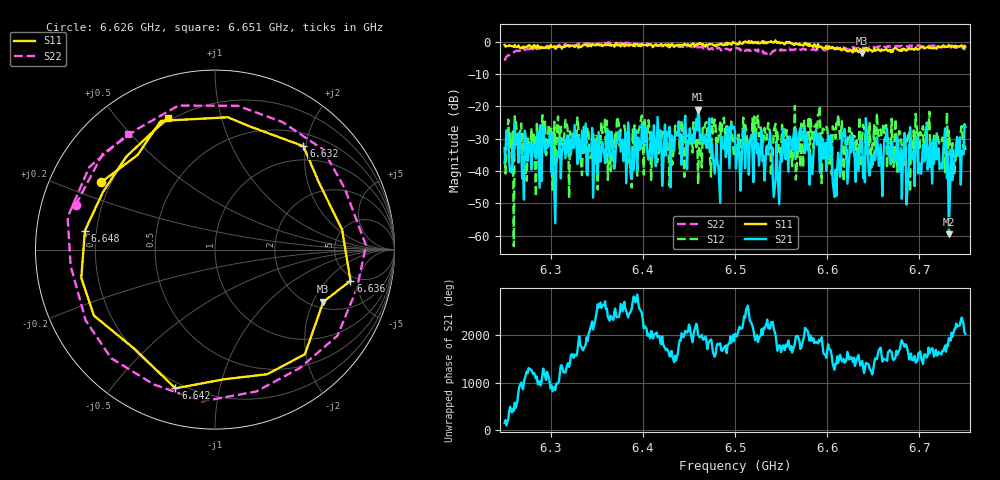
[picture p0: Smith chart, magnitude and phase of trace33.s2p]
# Hz S RI R 50
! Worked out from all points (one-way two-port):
!   401 points, 6.25 GHz to 6.75 GHz, reference 50 ohm
!   highest |S21| = -20.97 dB at 6.46 GHz (marker M1); lowest = -59.6 dB at 6.732 GHz (marker M2)
!   lowest |S11| = -3.5 dB at 6.638 GHz (marker M3), VSWR 5.06, Z = 114 - j120 ohm
!   |S11| at or under -10 dB: nowhere
!   |S22| runs from -5.9 to -0.2 dB; largest |S21 - S12| = 0.13
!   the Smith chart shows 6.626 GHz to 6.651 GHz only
!   S11 on the Smith chart (normalised r, x): 6.626 GHz: 0.16, +0.27; 6.632 GHz: 0.72, +1.96; 6.636 GHz: 4.43, -3.85; 6.642 GHz: 0.17, -0.74; 6.648 GHz: 0.16, +0.07; 6.651 GHz: 0.18, +0.69
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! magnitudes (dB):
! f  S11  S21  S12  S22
! 6.25 GHz  -1.0  -37.6  -32.5  -5.9
! 6.298 GHz  -2.1  -32.1  -25.5  -1.5
! 6.306 GHz  -2.0  -38.3  -30.3  -1.5
! 6.334 GHz  -1.5  -27.4  -41.3  -0.7
! 6.418 GHz  -1.2  -33.7  -33.0  -1.1
! 6.46 GHz  -0.8  -21.0  -44.1  -1.6
! 6.481 GHz  -0.9  -37.9  -31.2  -2.1
! 6.5 GHz  -0.5  -27.9  -29.4  -2.3
! 6.572 GHz  -1.0  -29.3  -25.3  -2.4
! 6.584 GHz  -1.2  -40.9  -29.3  -2.4
! 6.602 GHz  -1.4  -36.1  -37.7  -2.0
! 6.609 GHz  -2.2  -39.6  -29.9  -2.3
! 6.626 GHz  -2.6  -34.2  -27.9  -1.8
! 6.632 GHz  -2.4  -34.2  -30.5  -1.9
! 6.636 GHz  -2.2  -30.2  -38.7  -1.5
! 6.638 GHz  -3.5  -30.7  -29.2  -1.7
! 6.642 GHz  -1.9  -23.6  -34.7  -1.4
! 6.648 GHz  -2.7  -35.3  -38.9  -1.8
! 6.651 GHz  -2.2  -34.2  -25.8  -1.9
! 6.668 GHz  -2.5  -32.4  -36.4  -1.3
! 6.732 GHz  -1.0  -59.6  -27.5  -1.4
! 6.75 GHz  -1.6  -26.4  -33.5  -2.1
